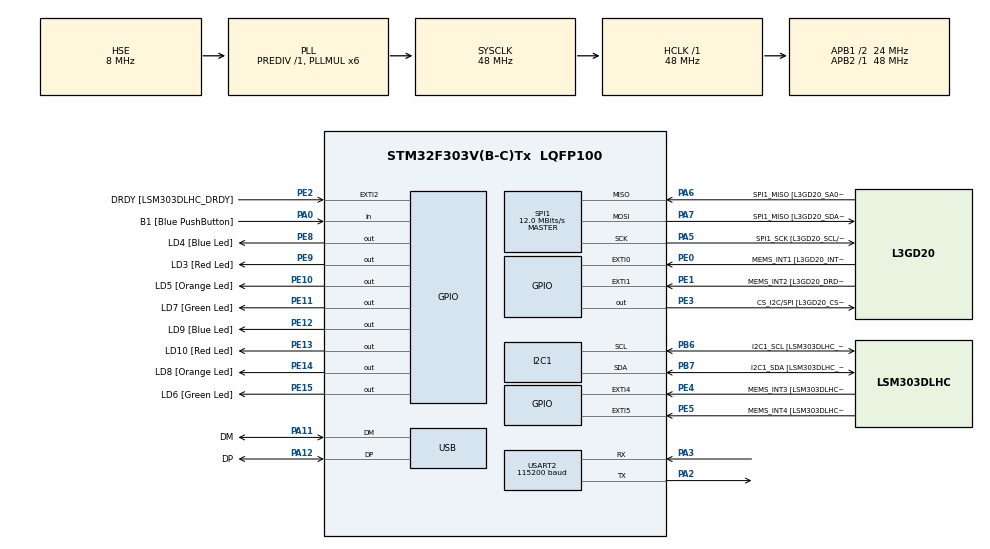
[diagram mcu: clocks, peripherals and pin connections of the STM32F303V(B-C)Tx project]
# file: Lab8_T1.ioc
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I2C1.Timing=0x00201D2B
I2C1.Timing-I2C=0x2000090E
Mcu.Family=STM32F3
Mcu.Name=STM32F303V(B-C)Tx
Mcu.Package=LQFP100
NVIC.PriorityGroup=NVIC_PRIORITYGROUP_0
NVIC.SPI1_IRQn=true\:0\:0\:false\:false\:true\:true\:true\:true
NVIC.USART2_IRQn=true\:0\:0\:false\:false\:true\:true\:true\:true
PA0.GPIO_Label=B1 [Blue PushButton]
PA0.Signal=GPIO_Input
PA11.GPIO_Label=DM
PA11.Mode=Device
PA11.Signal=USB_DM
PA12.GPIO_Label=DP
PA12.Mode=Device
PA12.Signal=USB_DP
PA13.GPIO_Label=SWDIO
PA13.Mode=Serial_Wire
PA13.Signal=SYS_JTMS-SWDIO
PA14.GPIO_Label=SWCLK
PA14.Mode=Serial_Wire
PA14.Signal=SYS_JTCK-SWCLK
PA2.Mode=Asynchronous
PA2.Signal=USART2_TX
PA3.Mode=Asynchronous
PA3.Signal=USART2_RX
PA5.GPIO_Label=SPI1_SCK [L3GD20_SCL/SPC]
PA5.Mode=Full_Duplex_Master
PA5.Signal=SPI1_SCK
PA6.GPIO_Label=SPI1_MISO [L3GD20_SA0/SDO]
PA6.Mode=Full_Duplex_Master
PA6.Signal=SPI1_MISO
PA7.GPIO_Label=SPI1_MISO [L3GD20_SDA/SDI/SDO]
PA7.Mode=Full_Duplex_Master
PA7.Signal=SPI1_MOSI
PB3.GPIO_Label=SWO
PB3.Signal=SYS_JTDO-TRACESWO
PB6.GPIO_Label=I2C1_SCL [LSM303DLHC_SCL]
PB6.GPIO_Pu=GPIO_PULLUP
PB6.Mode=I2C
PB6.Signal=I2C1_SCL
PB7.GPIO_Label=I2C1_SDA [LSM303DLHC_SDA]
PB7.GPIO_Pu=GPIO_PULLUP
PB7.Mode=I2C
PB7.Signal=I2C1_SDA
PC14-OSC32_IN.GPIO_Label=OSC32_IN
PC14-OSC32_IN.Signal=RCC_OSC32_IN
PC15-OSC32_OUT.GPIO_Label=OSC32_OUT
PC15-OSC32_OUT.Signal=RCC_OSC32_OUT
PE0.GPIO_Label=MEMS_INT1 [L3GD20_INT1]
PE0.GPIO_ModeDefaultEXTI=GPIO_MODE_EVT_RISING
PE0.Signal=GPXTI0
PE1.GPIO_Label=MEMS_INT2 [L3GD20_DRDY/INT2]
PE1.GPIO_ModeDefaultEXTI=GPIO_MODE_EVT_RISING
PE1.Signal=GPXTI1
PE10.GPIO_Label=LD5 [Orange Led]
PE10.Signal=GPIO_Output
PE11.GPIO_Label=LD7 [Green Led]
PE11.Signal=GPIO_Output
PE12.GPIO_Label=LD9 [Blue Led]
PE12.Signal=GPIO_Output
PE13.GPIO_Label=LD10 [Red Led]
PE13.Signal=GPIO_Output
PE14.GPIO_Label=LD8 [Orange Led]
PE14.Signal=GPIO_Output
PE15.GPIO_Label=LD6 [Green Led]
PE15.Signal=GPIO_Output
PE2.GPIO_Label=DRDY [LSM303DLHC_DRDY]
PE2.GPIO_ModeDefaultEXTI=GPIO_MODE_EVT_RISING
PE2.Signal=GPXTI2
PE3.GPIO_Label=CS_I2C/SPI [L3GD20_CS_I2C/SPI]
PE3.Signal=GPIO_Output
PE4.GPIO_Label=MEMS_INT3 [LSM303DLHC_INT1]
PE4.GPIO_ModeDefaultEXTI=GPIO_MODE_EVT_RISING
PE4.Signal=GPXTI4
PE5.GPIO_Label=MEMS_INT4 [LSM303DLHC_INT2]
PE5.GPIO_ModeDefaultEXTI=GPIO_MODE_EVT_RISING
PE5.Signal=GPXTI5
PE8.GPIO_Label=LD4 [Blue Led]
PE8.Signal=GPIO_Output
PE9.GPIO_Label=LD3 [Red Led]
PE9.Signal=GPIO_Output
PF0-OSC_IN.GPIO_Label=OSC_IN
PF0-OSC_IN.Mode=HSE-External-Clock-Source
PF0-OSC_IN.Signal=RCC_OSC_IN
PF1-OSC_OUT.GPIO_Label=OSC_OUT
PF1-OSC_OUT.Signal=RCC_OSC_OUT
ProjectManager.HeapSize=0x200
ProjectManager.StackSize=0x400
ProjectManager.TargetToolchain=CMake
RCC.AHBFreq_Value=48000000
RCC.APB1CLKDivider=RCC_HCLK_DIV2
RCC.APB1Freq_Value=24000000
RCC.APB1TimFreq_Value=48000000
RCC.APB2Freq_Value=48000000
RCC.APB2TimFreq_Value=48000000
RCC.CortexFreq_Value=48000000
RCC.HCLKFreq_Value=48000000
RCC.HSE_VALUE=8000000
RCC.HSI_VALUE=8000000
RCC.LSE_VALUE=32768
RCC.PLLMUL=RCC_PLL_MUL6
RCC.SYSCLKFreq_VALUE=48000000
RCC.SYSCLKSourceVirtual=RCC_SYSCLKSOURCE_PLLCLK
RCC.USBFreq_Value=48000000
SPI1.BaudRatePrescaler=SPI_BAUDRATEPRESCALER_4
SPI1.BaudRatePrescaler-Full_Duplex_Master=SPI_BAUDRATEPRESCALER_2
SPI1.CalculateBaudRate=12.0 MBits/s
SPI1.CalculateBaudRate-Full_Duplex_Master=24.0 MBits/s
SPI1.DataSize=SPI_DATASIZE_8BIT
SPI1.Direction=SPI_DIRECTION_2LINES
SPI1.Mode=SPI_MODE_MASTER
SPI1.Mode-Full_Duplex_Master=SPI_MODE_MASTER
SPI1.VirtualType=VM_MASTER
USART2.BaudRate=115200
USART2.VirtualMode-Asynchronous=VM_ASYNC
board=STM32F3DISCOVERY

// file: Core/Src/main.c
/* USER CODE BEGIN Header */
/**
  ******************************************************************************
  * @file           : main.c
  * @brief          : Lab 8 Task 1 - Read WHO_AM_I from I3G4250D Gyroscope
  ******************************************************************************
  */
/* USER CODE END Header */

#include "main.h"

/* USER CODE BEGIN Includes */
#include <stdio.h>
#include <string.h>
#include <stdarg.h>
/* USER CODE END Includes */

/* USER CODE BEGIN PD */
/* I3G4250D Register Addresses */
#define GYRO_WHO_AM_I        0x0F    /* WHO_AM_I register */

/* Expected WHO_AM_I value */
#define I3G4250D_WHO_AM_I    0xD3    /* Expected device ID */

/* SPI command bits */
#define SPI_READ             0x80    /* MSB = 1 for read operation */

/* Chip Select (CS) pin control - PE3 */
#define CS_LOW()  HAL_GPIO_WritePin(GPIOE, GPIO_PIN_3, GPIO_PIN_RESET)
#define CS_HIGH() HAL_GPIO_WritePin(GPIOE, GPIO_PIN_3, GPIO_PIN_SET)
/* USER CODE END PD */

I2C_HandleTypeDef hi2c1;
SPI_HandleTypeDef hspi1;
UART_HandleTypeDef huart2;
PCD_HandleTypeDef hpcd_USB_FS;

void SystemClock_Config(void);
static void MX_GPIO_Init(void);
static void MX_I2C1_Init(void);
static void MX_SPI1_Init(void);
static void MX_USART2_UART_Init(void);
static void MX_USB_PCD_Init(void);

/* USER CODE BEGIN 0 */

/**
  * @brief  Read a register from gyroscope via SPI
  * @param  reg: Register address to read
  * @retval Value read from register
  */
uint8_t SPI_ReadRegister(uint8_t reg)
{
    uint8_t tx_data[2];
    uint8_t rx_data[2] = {0};
    uint8_t result = 0;

    /* Prepare read command: register address with read bit (MSB=1) */
    tx_data[0] = SPI_READ | reg;  /* 0x80 | reg */
    tx_data[1] = 0x00;             /* Dummy byte to generate clock */

    /* Pull CS low to start communication */
    CS_LOW();

    /* Small delay for CS setup */
    for(volatile int i = 0; i < 10; i++);

    /* Send command and receive data */
    if(HAL_SPI_TransmitReceive(&hspi1, tx_data, rx_data, 2, HAL_MAX_DELAY) != HAL_OK)
    {
        CS_HIGH();
        return 0;
    }

    /* Pull CS high to end communication */
    CS_HIGH();

    /* Second byte contains the register value */
    result = rx_data[1];

    return result;
}

/**
  * @brief  Write to a register in gyroscope via SPI
  * @param  reg: Register address to write
  * @param  data: Data to write
  * @retval HAL status
  */
HAL_StatusTypeDef SPI_WriteRegister(uint8_t reg, uint8_t data)
{
    uint8_t tx_data[2];

    /* Prepare write command: register address without read bit */
    tx_data[0] = reg;        /* Write command (MSB=0) */
    tx_data[1] = data;        /* Data to write */

    /* Pull CS low to start communication */
    CS_LOW();

    /* Small delay for CS setup */
    for(volatile int i = 0; i < 10; i++);

    /* Send command and data */
    if(HAL_SPI_Transmit(&hspi1, tx_data, 2, HAL_MAX_DELAY) != HAL_OK)
    {
        CS_HIGH();
        return HAL_ERROR;
    }

    /* Pull CS high to end communication */
    CS_HIGH();

    return HAL_OK;
}

/**
  * @brief  Print formatted string over UART
  * @param  fmt: Format string
  * @param  ...: Variable arguments
  */
void cout(const char* fmt, ...)
{
    char buffer[256];
    va_list args;
    va_start(args, fmt);
    int len = vsnprintf(buffer, sizeof(buffer), fmt, args);
    va_end(args);

    if (len > 0)
    {
        HAL_UART_Transmit(&huart2, (uint8_t*)buffer, len, HAL_MAX_DELAY);
    }
}

/**
  * @brief  Initialize the gyroscope
  * @retval HAL status
  */
HAL_StatusTypeDef GYRO_Init(void)
{
    HAL_StatusTypeDef status;

    /* First verify communication by reading WHO_AM_I */
    uint8_t who_am_i = SPI_ReadRegister(GYRO_WHO_AM_I);

    /* Check if we got valid ID */
    if(who_am_i != I3G4250D_WHO_AM_I)
    {
        return HAL_ERROR;
    }

    /* Configure CTRL_REG1 to power up the device and enable all axes */
    /* Value: 0x0F = 00001111 (PD=1, Zen=1, Yen=1, Xen=1) */
    status = SPI_WriteRegister(0x20, 0x0F);
    HAL_Delay(10);

    return status;
}
/* USER CODE END 0 */

int main(void)
{

    /* MCU Configuration--------------------------------------------------------*/

    /* Reset of all peripherals, Initializes the Flash interface and the Systick. */
    HAL_Init();

    /* Configure the system clock */
    SystemClock_Config();

    /* Initialize all configured peripherals */
    MX_GPIO_Init();
    MX_I2C1_Init();
    MX_SPI1_Init();  /* Use the default initialization first */
    MX_USART2_UART_Init();
    MX_USB_PCD_Init();

    /* USER CODE BEGIN 2 */

    uint8_t who_am_i;

    /* Small delay for system stabilization */
    HAL_Delay(100);

    /* Print header */
    cout("\r\n========================================\r\n");
    cout("Lab 8 Task 1: SPI Communication Test\r\n");
    cout("========================================\r\n");

    /* Initialize the gyroscope and read WHO_AM_I */
    who_am_i = SPI_ReadRegister(GYRO_WHO_AM_I);

    /* Display the result */
    cout("WHO_AM_I Register (0x%02X) = 0x%02X\r\n", GYRO_WHO_AM_I, who_am_i);

    /* Verify the value */
    if(who_am_i == I3G4250D_WHO_AM_I)
    {
        cout("SUCCESS: Detected I3G4250D Gyroscope\r\n");
    }
    else if(who_am_i == 0xD4)
    {
        cout("SUCCESS: Detected L3GD20 Gyroscope (Green Board)\r\n");
    }
    else
    {
        cout("ERROR: Unexpected WHO_AM_I value! Expected 0x%02X\r\n", I3G4250D_WHO_AM_I);
        cout("Check SPI connections and configuration.\r\n");
    }

    cout("========================================\r\n");

    /* USER CODE END 2 */

    /* Infinite loop */
    /* USER CODE BEGIN WHILE */
    while (1)
    {
        /* Periodically read and display WHO_AM_I to verify communication */
        uint8_t current_id = SPI_ReadRegister(GYRO_WHO_AM_I);
        cout("WHO_AM_I = 0x%02X\r\n", current_id);

        /* Read every 1 second */
        HAL_Delay(1000);

        /* USER CODE END WHILE */

    }
}

void SystemClock_Config(void)
{
    RCC_OscInitTypeDef RCC_OscInitStruct = {0};
    RCC_ClkInitTypeDef RCC_ClkInitStruct = {0};
    RCC_PeriphCLKInitTypeDef PeriphClkInit = {0};

    /** Initializes the RCC Oscillators according to the specified parameters
    * in the RCC_OscInitTypeDef structure.
    */
    RCC_OscInitStruct.OscillatorType = RCC_OSCILLATORTYPE_HSI|RCC_OSCILLATORTYPE_HSE;
    RCC_OscInitStruct.HSEState = RCC_HSE_BYPASS;
    RCC_OscInitStruct.HSEPredivValue = RCC_HSE_PREDIV_DIV1;
    RCC_OscInitStruct.HSIState = RCC_HSI_ON;
    RCC_OscInitStruct.HSICalibrationValue = RCC_HSICALIBRATION_DEFAULT;
    RCC_OscInitStruct.PLL.PLLState = RCC_PLL_ON;
    RCC_OscInitStruct.PLL.PLLSource = RCC_PLLSOURCE_HSE;
    RCC_OscInitStruct.PLL.PLLMUL = RCC_PLL_MUL6;
    if (HAL_RCC_OscConfig(&RCC_OscInitStruct) != HAL_OK)
    {
        Error_Handler();
    }

    /** Initializes the CPU, AHB and APB buses clocks
    */
    RCC_ClkInitStruct.ClockType = RCC_CLOCKTYPE_HCLK|RCC_CLOCKTYPE_SYSCLK
                                |RCC_CLOCKTYPE_PCLK1|RCC_CLOCKTYPE_PCLK2;
    RCC_ClkInitStruct.SYSCLKSource = RCC_SYSCLKSOURCE_PLLCLK;
    RCC_ClkInitStruct.AHBCLKDivider = RCC_SYSCLK_DIV1;
    RCC_ClkInitStruct.APB1CLKDivider = RCC_HCLK_DIV2;
    RCC_ClkInitStruct.APB2CLKDivider = RCC_HCLK_DIV1;

    if (HAL_RCC_ClockConfig(&RCC_ClkInitStruct, FLASH_LATENCY_1) != HAL_OK)
    {
        Error_Handler();
    }
    PeriphClkInit.PeriphClockSelection = RCC_PERIPHCLK_USB|RCC_PERIPHCLK_USART2
                                |RCC_PERIPHCLK_I2C1;
    PeriphClkInit.Usart2ClockSelection = RCC_USART2CLKSOURCE_PCLK1;
    PeriphClkInit.I2c1ClockSelection = RCC_I2C1CLKSOURCE_HSI;
    PeriphClkInit.USBClockSelection = RCC_USBCLKSOURCE_PLL;
    if (HAL_RCCEx_PeriphCLKConfig(&PeriphClkInit) != HAL_OK)
    {
        Error_Handler();
    }
}

static void MX_I2C1_Init(void)
{

    hi2c1.Instance = I2C1;
    hi2c1.Init.Timing = 0x2000090E;
    hi2c1.Init.OwnAddress1 = 0;
    hi2c1.Init.AddressingMode = I2C_ADDRESSINGMODE_7BIT;
    hi2c1.Init.DualAddressMode = I2C_DUALADDRESS_DISABLE;
    hi2c1.Init.OwnAddress2 = 0;
    hi2c1.Init.OwnAddress2Masks = I2C_OA2_NOMASK;
    hi2c1.Init.GeneralCallMode = I2C_GENERALCALL_DISABLE;
    hi2c1.Init.NoStretchMode = I2C_NOSTRETCH_DISABLE;
    if (HAL_I2C_Init(&hi2c1) != HAL_OK)
    {
        Error_Handler();
    }

    /** Configure Analogue filter
    */
    if (HAL_I2CEx_ConfigAnalogFilter(&hi2c1, I2C_ANALOGFILTER_ENABLE) != HAL_OK)
    {
        Error_Handler();
    }

    /** Configure Digital filter
    */
    if (HAL_I2CEx_ConfigDigitalFilter(&hi2c1, 0) != HAL_OK)
    {
        Error_Handler();
    }

}

static void MX_SPI1_Init(void)
{

    /* SPI1 parameter configuration*/
    hspi1.Instance = SPI1;
    hspi1.Init.Mode = SPI_MODE_MASTER;
    hspi1.Init.Direction = SPI_DIRECTION_2LINES;
    hspi1.Init.DataSize = SPI_DATASIZE_8BIT;
    hspi1.Init.CLKPolarity = SPI_POLARITY_HIGH;      /* CPOL = 1 (clock idle high) */
    hspi1.Init.CLKPhase = SPI_PHASE_2EDGE;            /* CPHA = 1 (capture on second edge) */
    hspi1.Init.NSS = SPI_NSS_SOFT;                    /* Software CS control */
    hspi1.Init.BaudRatePrescaler = SPI_BAUDRATEPRESCALER_16;  /* Slower clock for stability */
    hspi1.Init.FirstBit = SPI_FIRSTBIT_MSB;
    hspi1.Init.TIMode = SPI_TIMODE_DISABLE;
    hspi1.Init.CRCCalculation = SPI_CRCCALCULATION_DISABLE;
    hspi1.Init.CRCPolynomial = 7;
    hspi1.Init.CRCLength = SPI_CRC_LENGTH_DATASIZE;
    hspi1.Init.NSSPMode = SPI_NSS_PULSE_DISABLE;
    if (HAL_SPI_Init(&hspi1) != HAL_OK)
    {
        Error_Handler();
    }

}

static void MX_USART2_UART_Init(void)
{

    huart2.Instance = USART2;
    huart2.Init.BaudRate = 115200;
    huart2.Init.WordLength = UART_WORDLENGTH_8B;
    huart2.Init.StopBits = UART_STOPBITS_1;
    huart2.Init.Parity = UART_PARITY_NONE;
    huart2.Init.Mode = UART_MODE_TX_RX;
    huart2.Init.HwFlowCtl = UART_HWCONTROL_NONE;
    huart2.Init.OverSampling = UART_OVERSAMPLING_16;
    huart2.Init.OneBitSampling = UART_ONE_BIT_SAMPLE_DISABLE;
    huart2.AdvancedInit.AdvFeatureInit = UART_ADVFEATURE_NO_INIT;
    if (HAL_UART_Init(&huart2) != HAL_OK)
    {
        Error_Handler();
    }

}

static void MX_USB_PCD_Init(void)
{

    hpcd_USB_FS.Instance = USB;
    hpcd_USB_FS.Init.dev_endpoints = 8;
    hpcd_USB_FS.Init.speed = PCD_SPEED_FULL;
    hpcd_USB_FS.Init.phy_itface = PCD_PHY_EMBEDDED;
    hpcd_USB_FS.Init.low_power_enable = DISABLE;
    hpcd_USB_FS.Init.battery_charging_enable = DISABLE;
    if (HAL_PCD_Init(&hpcd_USB_FS) != HAL_OK)
    {
        Error_Handler();
    }

}

static void MX_GPIO_Init(void)
{
    GPIO_InitTypeDef GPIO_InitStruct = {0};

    /* GPIO Ports Clock Enable */
    __HAL_RCC_GPIOE_CLK_ENABLE();
    __HAL_RCC_GPIOC_CLK_ENABLE();
    __HAL_RCC_GPIOF_CLK_ENABLE();
    __HAL_RCC_GPIOA_CLK_ENABLE();
    __HAL_RCC_GPIOB_CLK_ENABLE();

    /*Configure GPIO pin Output Level */
    HAL_GPIO_WritePin(GPIOE, GPIO_PIN_3|LD4_Pin|LD3_Pin|LD5_Pin
                            |LD7_Pin|LD9_Pin|LD10_Pin|LD8_Pin
                            |LD6_Pin, GPIO_PIN_RESET);

    /*Configure GPIO pins : DRDY_Pin MEMS_INT3_Pin MEMS_INT4_Pin MEMS_INT1_Pin
                           MEMS_INT2_Pin */
    GPIO_InitStruct.Pin = DRDY_Pin|MEMS_INT3_Pin|MEMS_INT4_Pin|MEMS_INT1_Pin
                            |MEMS_INT2_Pin;
    GPIO_InitStruct.Mode = GPIO_MODE_EVT_RISING;
    GPIO_InitStruct.Pull = GPIO_NOPULL;
    HAL_GPIO_Init(GPIOE, &GPIO_InitStruct);

    /*Configure GPIO pins : CS_I2C_SPI_Pin LD4_Pin LD3_Pin LD5_Pin
                           LD7_Pin LD9_Pin LD10_Pin LD8_Pin
                           LD6_Pin */
    GPIO_InitStruct.Pin = GPIO_PIN_3|LD4_Pin|LD3_Pin|LD5_Pin
                            |LD7_Pin|LD9_Pin|LD10_Pin|LD8_Pin
                            |LD6_Pin;
    GPIO_InitStruct.Mode = GPIO_MODE_OUTPUT_PP;
    GPIO_InitStruct.Pull = GPIO_NOPULL;
    GPIO_InitStruct.Speed = GPIO_SPEED_FREQ_LOW;
    HAL_GPIO_Init(GPIOE, &GPIO_InitStruct);

    /*Configure GPIO pin : B1_Pin */
    GPIO_InitStruct.Pin = B1_Pin;
    GPIO_InitStruct.Mode = GPIO_MODE_INPUT;
    GPIO_InitStruct.Pull = GPIO_NOPULL;
    HAL_GPIO_Init(B1_GPIO_Port, &GPIO_InitStruct);

}

void Error_Handler(void)
{
    __disable_irq();
    while (1)
    {
    }
}
